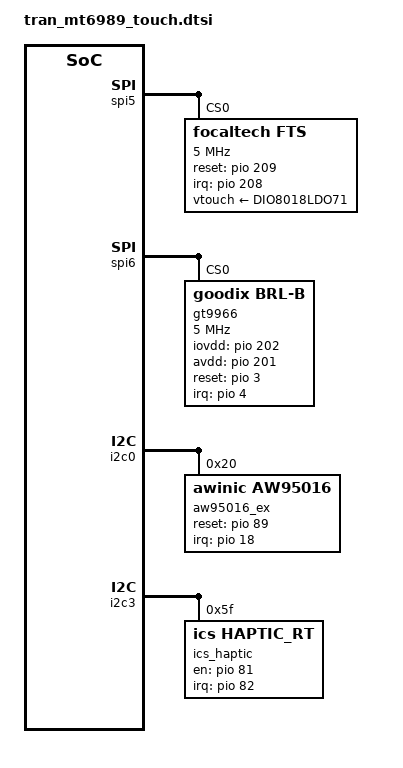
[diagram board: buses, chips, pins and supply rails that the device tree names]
// SPDX-License-Identifier: GPL-2.0
/*
 * Copyright (c) 2022 MediaTek Inc.
 */
/********************************************
 * MT6989 TOUCH/VIBR/KEY DTSI File
 ********************************************/
#include <dt-bindings/gpio/gpio.h>

&chosen {
	lra,info = <1 3 81>;//type:(1:X-lra 2:Z-lra)  bus_num:i2c3  reset_gpio:gpio81
};

&mt6363keys {
	home {
		linux,keycodes = <114>;
	};
};

/* TOUCH start */
/* main tp */
&touch {
	supplier-num = <1>;
	supplier-vendor-0 = "CSOT";
	supplier-0 = "any, goodix, gt9966";
	supplier-resolution-0 = <16>;
};

/* sub tp */
&touch_panel0{
	supplier-num = <1>;
	supplier-vendor-0 = "CSOT";
	supplier-0 = "any, focaltech, ft3683g";
	supplier-resolution-0 = <16>;
};

/* sub tp */
&spi5{
	focaltech@0 {
		compatible = "focaltech,fts";
		status = "ok";
		reg = <0>;
		spi-max-frequency = <5000000>;
		interrupt-parent = <&pio>;
		interrupts = <208 IRQ_TYPE_EDGE_FALLING 208 0>;
		focaltech,reset-gpio = <&pio 209 0x0>;
		focaltech,irq-gpio = <&pio 208 0x0>;
		focaltech,max-touch-number = <10>;
		focaltech,display-coords =  <0 0 20223 44479>;
		vtouch-supply = <&DIO8018LDO71>;
		//vcc_i2c-supply = <&DIO8018LDO41>;
	};
};

/* main tp */
&spi6{
	gt9966@0 {
		compatible = "goodix,brl-b";
		status = "ok";
		reg = <0>;
		spi-max-frequency = <5000000>;
		interrupt-parent = <&pio>;
		//vtouch-supply = <&ET5904LDO31>; /* tp主屏3.3v */
		//goodix,avdd-name = "vtouch";
		goodix,iovdd-gpio = <&pio 202 0x0>; /* tp主屏1.8v */
		goodix,avdd-gpio = <&pio 201 0x0>;
		goodix,reset-gpio = <&pio 3 0x0>;
		goodix,irq-gpio = <&pio 4 0x0>;
		goodix,irq-flags = <2>; /* 1:rising, 2:falling;*/
		interrupts = <4 IRQ_TYPE_EDGE_FALLING 4 0>;
		goodix,panel-max-id = <10>;
		goodix,panel-max-x = <36736>;//32000
		goodix,panel-max-y = <32000>;//36736
		goodix,panel-max-w = <256>;
		goodix,panel-max-p = <4095>;
		//goodix,input-max-x = <32000>;
		//goodix,input-max-y = <36736>;
		//goodix,panel-key-map = <158 172 217>; /*BACK,HOMEPAGE,SEARCH*/
		goodix,power-on-delay-us = <10000>; /*10ms*/
		goodix,power-off-delay-us = <5000>;
		goodix,firmware-name = "goodix_firmware.bin";
		goodix,config-name = "goodix_cfg_group.bin";
		/*goodix,swap-axis;*/
		/*goodix,x2x;*/
		/*goodix,y2y;*/
		//goodix,pen-enable;
		//goodix,key-of-pen = <331 332>;/*BTN_STYLUS, BTN_STYLUS2*/
		//tpd-filter-enable = <0>;
		//tpd-filter-pixel-density = <161>;
		//tpd-filter-custom-prameters = <0 0 0 0 0 0 0 0 0 0 0 0>;
		//tpd-filter-custom-speed = <0 0 0>;
	};
};
/* TOUCH end */

/*Expand IO start*/
&i2c0 {
	status = "ok";
	aw95016_ex@20 {
		compatible = "awinic,aw95016";
		reg = <0x20>;
		reset-gpio = <&pio 89 0>; //rst gpio
		irq-gpio = <&pio 18 0>; //irq gpio
		status = "okay";
	};
};
/*Expand IO end*/

/* RT6010 Haptic start */
&i2c3 {
	ics_haptic@5f {
		compatible = "ics,haptic_rt";
		reg = <0x5f>;
		interrupt-parent = <&pio>;
		interrupts = <82 IRQ_TYPE_EDGE_FALLING 82 0>;
		device-name = "vibrator_single";
		richtap-name = "aac_richtap_5f";
		gpio-en = <&pio 81 0>;
		gpio-irq = <&pio 82 0>;
		status = "ok";
		// rt6010 chip configuration
		rt6010_chip_id = <0x6B>;
		rt6010_reg_size = <0x6C>;
		rt6010_ram_size = <0x600>;
		rt6010_sys_f0 = <1700>;
		rt6010_list_base_addr = <0x400>;
		rt6010_wave_base_addr = <0x420>;
		rt6010_fifo_ae = <0x200>;
		rt6010_fifo_af = <0x300>;
		rt6010_boost_mode = <0x00>;
		rt6010_boost_vol = <0x0A>;
		rt6010_gain = <0x80>;
		rt6010_brake_en = <0>;
		rt6010_brake_wave_no = <0>;
		rt6010_brake_const = <0>;
		rt6010_brake_acq_point = <0>;
	};
};
/* RT6010 Haptic end */
